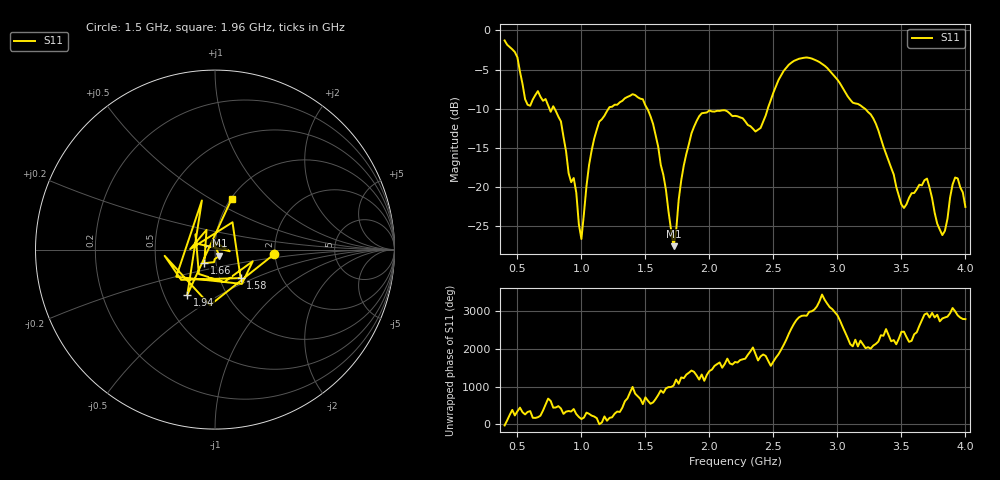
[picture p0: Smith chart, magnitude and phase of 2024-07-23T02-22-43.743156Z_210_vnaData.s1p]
!Created with skrf (http://scikit-rf.org).
# Hz S RI R 50.0
!freq ReS11 ImS11
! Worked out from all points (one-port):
!   181 points, 400 MHz to 4 GHz, reference 50 ohm
!   lowest |S11| = -27.6 dB at 1.72 GHz (marker M1), VSWR 1.09, Z = 52.4 - j3.58 ohm
!   |S11| at or under -10 dB: 790.5 MHz to 1.212 GHz (421.2 MHz wide, 42.1 % of centre); 1.515 GHz to 2.456 GHz (941.1 MHz wide, 47.4 % of centre); 3.215 GHz to end of sweep (the widest 3 of 4)
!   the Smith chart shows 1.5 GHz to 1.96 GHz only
!   S11 on the Smith chart (normalised r, x): 1.5 GHz: 1.98, -0.11; 1.58 GHz: 1.26, -0.42; 1.66 GHz: 0.88, -0.13; 1.94 GHz: 0.65, -0.36; 1.96 GHz: 1.01, +0.63
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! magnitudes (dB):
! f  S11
! 400 MHz  -1.3
! 500 MHz  -3.4
! 580 MHz  -9.5
! 660 MHz  -7.7
! 860 MHz  -13.6
! 940 MHz  -18.9
! 1 GHz  -26.7
! 1.1 GHz  -13.8
! 1.3 GHz  -9.2
! 1.5 GHz  -9.6
! 1.58 GHz  -13.4
! 1.66 GHz  -20.3
! 1.72 GHz  -27.6
! 1.76 GHz  -21.6
! 1.86 GHz  -13.1
! 1.94 GHz  -10.6
! 1.96 GHz  -10.5
! 2.2 GHz  -10.9
! 2.4 GHz  -12.5
! 2.66 GHz  -3.9
! 3.1 GHz  -8.8
! 3.28 GHz  -11.2
! 3.5 GHz  -22.2
! 3.56 GHz  -21.4
! 3.7 GHz  -18.9
! 3.82 GHz  -26.1
! 3.92 GHz  -18.8
! 4 GHz  -22.5
